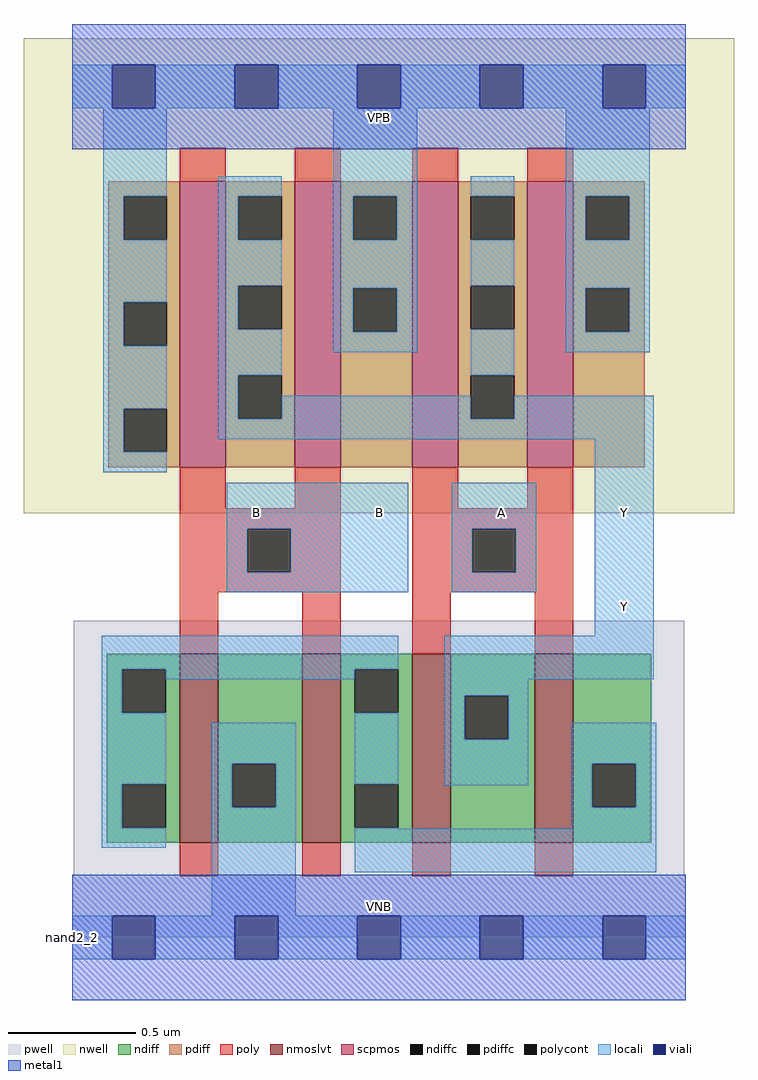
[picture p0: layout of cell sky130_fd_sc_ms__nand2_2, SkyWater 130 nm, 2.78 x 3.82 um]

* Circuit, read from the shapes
.subckt sky130_fd_sc_ms__nand2_2 A B VGND VNB VPB VPWR Y
XM1 VGND B n1 VNB sky130_fd_pr__nfet_01v8_lvt w=0.74 l=0.15 m=2
XM2 Y A n1 VNB sky130_fd_pr__nfet_01v8_lvt w=0.74 l=0.15 m=2
XM3 Y B VPWR VPB sky130_fd_pr__pfet_01v8 w=1.12 l=0.18 m=2
XM4 Y A VPWR VPB sky130_fd_pr__pfet_01v8 w=1.12 l=0.18 m=2
.ends

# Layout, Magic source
magic
tech sky130A
magscale 1 2
<< nwell >>
rect -38 332 518 704
<< pwell >>
rect 1 49 479 248
rect 0 0 480 49
<< scpmos >>
rect 84 368 120 592
rect 174 368 210 592
rect 266 368 302 592
rect 356 368 392 592
<< nmoslvt >>
rect 84 74 114 222
rect 180 74 210 222
rect 266 74 296 222
rect 362 74 392 222
<< ndiff >>
rect 27 210 84 222
rect 27 176 39 210
rect 73 176 84 210
rect 27 120 84 176
rect 27 86 39 120
rect 73 86 84 120
rect 27 74 84 86
rect 114 136 180 222
rect 114 102 125 136
rect 159 102 180 136
rect 114 74 180 102
rect 210 210 266 222
rect 210 176 221 210
rect 255 176 266 210
rect 210 120 266 176
rect 210 86 221 120
rect 255 86 266 120
rect 210 74 266 86
rect 296 189 362 222
rect 296 155 307 189
rect 341 155 362 189
rect 296 74 362 155
rect 392 136 453 222
rect 392 102 407 136
rect 441 102 453 136
rect 392 74 453 102
<< pdiff >>
rect 28 580 84 592
rect 28 546 40 580
rect 74 546 84 580
rect 28 497 84 546
rect 28 463 40 497
rect 74 463 84 497
rect 28 414 84 463
rect 28 380 40 414
rect 74 380 84 414
rect 28 368 84 380
rect 120 580 174 592
rect 120 546 130 580
rect 164 546 174 580
rect 120 510 174 546
rect 120 476 130 510
rect 164 476 174 510
rect 120 440 174 476
rect 120 406 130 440
rect 164 406 174 440
rect 120 368 174 406
rect 210 580 266 592
rect 210 546 220 580
rect 254 546 266 580
rect 210 508 266 546
rect 210 474 220 508
rect 254 474 266 508
rect 210 368 266 474
rect 302 580 356 592
rect 302 546 312 580
rect 346 546 356 580
rect 302 510 356 546
rect 302 476 312 510
rect 346 476 356 510
rect 302 440 356 476
rect 302 406 312 440
rect 346 406 356 440
rect 302 368 356 406
rect 392 580 448 592
rect 392 546 402 580
rect 436 546 448 580
rect 392 508 448 546
rect 392 474 402 508
rect 436 474 448 508
rect 392 368 448 474
<< ndiffc >>
rect 39 176 73 210
rect 39 86 73 120
rect 125 102 159 136
rect 221 176 255 210
rect 221 86 255 120
rect 307 155 341 189
rect 407 102 441 136
<< pdiffc >>
rect 40 546 74 580
rect 40 463 74 497
rect 40 380 74 414
rect 130 546 164 580
rect 130 476 164 510
rect 130 406 164 440
rect 220 546 254 580
rect 220 474 254 508
rect 312 546 346 580
rect 312 476 346 510
rect 312 406 346 440
rect 402 546 436 580
rect 402 474 436 508
<< poly >>
rect 84 592 120 618
rect 174 592 210 618
rect 266 592 302 618
rect 356 592 392 618
rect 84 336 120 368
rect 174 336 210 368
rect 84 320 210 336
rect 84 286 137 320
rect 171 286 210 320
rect 84 270 210 286
rect 84 222 114 270
rect 180 222 210 270
rect 266 336 302 368
rect 356 336 392 368
rect 266 320 392 336
rect 266 286 313 320
rect 347 286 392 320
rect 266 270 392 286
rect 266 222 296 270
rect 362 222 392 270
rect 84 48 114 74
rect 180 48 210 74
rect 266 48 296 74
rect 362 48 392 74
<< polycont >>
rect 137 286 171 320
rect 313 286 347 320
<< locali >>
rect 0 649 31 683
rect 65 649 127 683
rect 161 649 223 683
rect 257 649 319 683
rect 353 649 415 683
rect 449 649 480 683
rect 24 580 74 649
rect 24 546 40 580
rect 24 497 74 546
rect 24 463 40 497
rect 24 414 74 463
rect 24 380 40 414
rect 114 580 164 596
rect 114 546 130 580
rect 114 510 164 546
rect 114 476 130 510
rect 114 440 164 476
rect 204 580 270 649
rect 204 546 220 580
rect 254 546 270 580
rect 204 508 270 546
rect 204 474 220 508
rect 254 474 270 508
rect 204 458 270 474
rect 312 580 346 596
rect 312 510 346 546
rect 114 406 130 440
rect 312 440 346 476
rect 386 580 452 649
rect 386 546 402 580
rect 436 546 452 580
rect 386 508 452 546
rect 386 474 402 508
rect 436 474 452 508
rect 386 458 452 474
rect 164 406 312 424
rect 346 406 455 424
rect 114 390 455 406
rect 24 364 74 380
rect 121 320 263 356
rect 121 286 137 320
rect 171 286 263 320
rect 121 270 263 286
rect 297 320 363 356
rect 297 286 313 320
rect 347 286 363 320
rect 297 270 363 286
rect 409 236 455 390
rect 23 210 255 236
rect 23 176 39 210
rect 73 202 221 210
rect 23 120 73 176
rect 23 86 39 120
rect 23 70 73 86
rect 109 136 175 168
rect 109 102 125 136
rect 159 102 175 136
rect 109 17 175 102
rect 221 120 255 176
rect 291 202 455 236
rect 291 189 357 202
rect 291 155 307 189
rect 341 155 357 189
rect 291 119 357 155
rect 391 136 457 168
rect 221 85 255 86
rect 391 102 407 136
rect 441 102 457 136
rect 391 85 457 102
rect 221 51 457 85
rect 0 -17 31 17
rect 65 -17 127 17
rect 161 -17 223 17
rect 257 -17 319 17
rect 353 -17 415 17
rect 449 -17 480 17
<< viali >>
rect 31 649 65 683
rect 127 649 161 683
rect 223 649 257 683
rect 319 649 353 683
rect 415 649 449 683
rect 31 -17 65 17
rect 127 -17 161 17
rect 223 -17 257 17
rect 319 -17 353 17
rect 415 -17 449 17
<< metal1 >>
rect 0 683 480 715
rect 0 649 31 683
rect 65 649 127 683
rect 161 649 223 683
rect 257 649 319 683
rect 353 649 415 683
rect 449 649 480 683
rect 0 617 480 649
rect 0 17 480 49
rect 0 -17 31 17
rect 65 -17 127 17
rect 161 -17 223 17
rect 257 -17 319 17
rect 353 -17 415 17
rect 449 -17 480 17
rect 0 -49 480 -17
<< labels >>
flabel pwell s 0 0 480 49 0 FreeSans 200 0 0 0 VNB
port 4 nsew ground bidirectional
flabel nwell s 0 617 480 666 0 FreeSans 200 0 0 0 VPB
port 5 nsew power bidirectional
rlabel comment s 0 0 0 0 4 nand2_2
flabel metal1 s 0 617 480 666 0 FreeSans 340 0 0 0 VPWR
port 6 nsew power bidirectional
flabel metal1 s 0 0 480 49 0 FreeSans 340 0 0 0 VGND
port 3 nsew ground bidirectional
flabel locali s 415 242 449 276 0 FreeSans 340 0 0 0 Y
port 7 nsew signal output
flabel locali s 415 316 449 350 0 FreeSans 340 0 0 0 Y
port 7 nsew signal output
flabel locali s 127 316 161 350 0 FreeSans 340 0 0 0 B
port 2 nsew signal input
flabel locali s 223 316 257 350 0 FreeSans 340 0 0 0 B
port 2 nsew signal input
flabel locali s 319 316 353 350 0 FreeSans 340 0 0 0 A
port 1 nsew signal input
<< properties >>
string LEFsite unit
string LEFclass CORE
string FIXED_BBOX 0 0 480 666
string GDS_FILE $PDKPATH/libs.ref/sky130_fd_sc_ms/gds/sky130_fd_sc_ms.gds
string LEFsymmetry X Y
string GDS_END 3705988
string GDS_START 3701024
<< end >>
